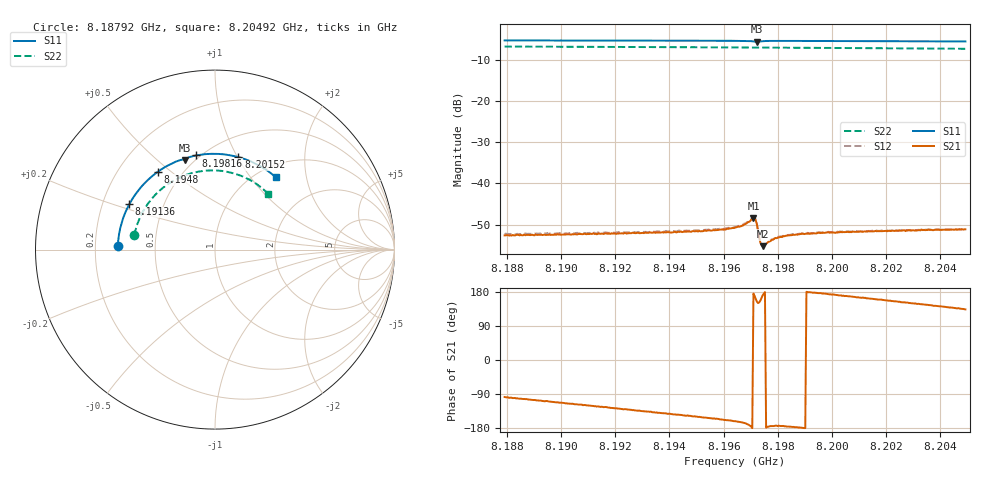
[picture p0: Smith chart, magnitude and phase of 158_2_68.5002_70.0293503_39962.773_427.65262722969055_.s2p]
#  HZ  S  RI  R  50.00
! Rohde & Schwarz Vector Network Analyzer
! Rohde-Schwarz,ZNB20-2Port,1311601062101988,3.16
! Created: UTC 3/20/2024, 4:55:40 PM
! freq[Hz]  re:S11  im:S11  re:S21  im:S21  re:S12  im:S12  re:S22  im:S22
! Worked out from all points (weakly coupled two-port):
!   401 points, 8.18792 GHz to 8.20492 GHz, reference 50 ohm
!   highest |S21| = -48.45 dB at 8.1971 GHz (marker M1); lowest = -55.2 dB at 8.19744 GHz (marker M2)
!   lowest |S11| = -5.6 dB at 8.19723 GHz (marker M3), VSWR 3.20, Z = 22.6 + j31 ohm
!   |S11| at or under -10 dB: nowhere
!   |S22| runs from -7.3 to -6.8 dB; largest |S21 - S12| = 0.0002
!   S11 on the Smith chart (normalised r, x): 8.18792 GHz: 0.30, +0.02; 8.19136 GHz: 0.32, +0.22; 8.1948 GHz: 0.37, +0.45; 8.19816 GHz: 0.48, +0.70; 8.20152 GHz: 0.70, +1.01; 8.20492 GHz: 1.21, +1.35
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8.187919e9  -0.5414 0.0219  -0.000315 -0.00233  -0.000438 -0.0024  -0.4494 0.082
8.189364e9  -0.5273 0.1221  -0.000756 -0.00227  -0.000824 -0.00232  -0.4268 0.1588
8.190767e9  -0.496 0.2152  -0.00113 -0.00215  -0.00125 -0.00217  -0.3922 0.228
8.191362e9  -0.4776 0.2526  -0.00132 -0.00207  -0.00144 -0.00211  -0.374 0.2557
8.193614e9  -0.3831 0.3791  -0.00192 -0.00166  -0.00205 -0.00165  -0.2878 0.3461
8.194804e9  -0.3192 0.4332  -0.0022 -0.00137  -0.00233 -0.00136  -0.2328 0.3831
8.195994e9  -0.2471 0.4768  -0.00253 -0.00104  -0.00262 -0.000987  -0.1728 0.4116
8.196419e9  -0.2193 0.4896  -0.00275 -0.000928  -0.00286 -0.000821  -0.1503 0.4197
8.196674e9  -0.2014 0.4964  -0.00296 -0.000822  -0.00307 -0.000744  -0.1366 0.4238
8.197099e9  -0.1686 0.5006  -0.00377 0.000313  -0.00385 0.000492  -0.1134 0.4298
8.197184e9  -0.1651 0.4974  -0.00339 0.00115  -0.00343 0.00133  -0.1088 0.4306
8.197227e9  -0.1654 0.4968  -0.00287 0.00139  -0.00285 0.00155  -0.1066 0.4312
8.197354e9  -0.1639 0.5034  -0.00177 0.000761  -0.00176 0.000859  -0.0997 0.4328
8.197397e9  -0.1613 0.5059  -0.00171 0.000503  -0.00171 0.000608  -0.0974 0.4333
8.197439e9  -0.1586 0.508  -0.00171 0.000287  -0.00174 0.000358  -0.0951 0.4337
8.197524e9  -0.1523 0.5114  -0.00181 2.12e-05  -0.00185 0.000115  -0.0902 0.4345
8.19795e9  -0.1213 0.5212  -0.00216 -0.000253  -0.00224 -0.000143  -0.0667 0.4382
8.198162e9  -0.1063 0.5244  -0.00223 -0.000228  -0.00231 -0.000128  -0.0545 0.4395
8.199267e9  -0.0279 0.5333  -0.00248 7.83e-05  -0.00248 0.000184  0.00788 0.4408
8.20152e9  0.13 0.5152  -0.00248 0.000852  -0.0025 0.000982  0.133 0.4157
8.202115e9  0.1701 0.5026  -0.00245 0.00107  -0.00239 0.00117  0.1646 0.403
8.20492e9  0.3401 0.4019  -0.00191 0.00202  -0.0019 0.00207  0.2964 0.3108
